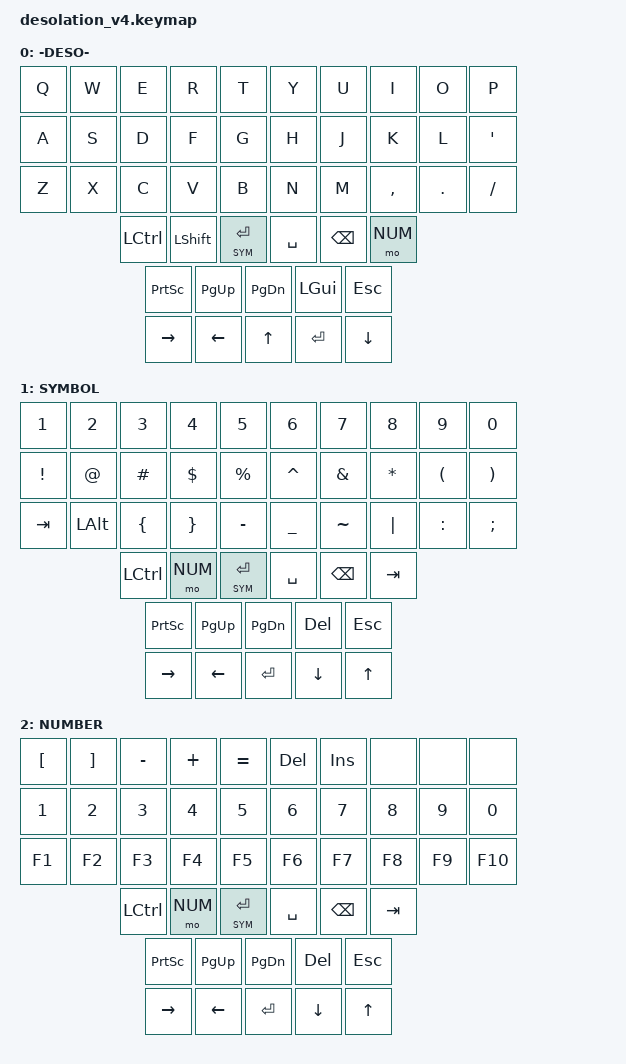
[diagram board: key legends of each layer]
/*
 * Last Update 12/3/24
 * QWERTY v4
 * 
 */

#include <behaviors.dtsi>
#include <dt-bindings/zmk/keys.h>
#include <dt-bindings/zmk/bt.h>
#include <dt-bindings/zmk/outputs.h>

#define DEF      0
#define SYM      1
#define NUM      2

#define SFTENT   &mt RSHIFT ENTER
#define SFTSPC   &mt LSHIFT SPACE
#define CPST     &cccv LC(C) LC(V)
#define CLIP     &kp LC(LA(Q))
#define GSHT     &kp LC(LA(G))
#define MSEH     &lt MSE H
#define MACA     &lt MAC A 
#define NUMG     &lt NUM G
#define SYMS     &lt SYM S 
#define FNC      &lt FN C
#define LCTD     &hrm LCTRL D
#define LLTT     &hrm LALT T
#define RTRN     &kp RET
#define TB       &kp TAB
#define BSP      &kp BSPC
#define BOOT     &bootloader
#define SNPL     &mo SNP
#define NNN      &none

&mt {
    flavor = "tap-preferred";
    tapping_term_ms = <180>;
};

&lt {
    tapping_term_ms = <150>;
};


/ {
    combos {

        compatible = "zmk,combos";
        combo_bootloader {
            timeout-ms = <50>;
            key-positions = <1 10>;
            bindings = <&bootloader>;
        };
    };

    behaviors {

        qesc: tap_dance_qesc {
            compatible = "zmk,behavior-tap-dance";
            #binding-cells = <0>;
            tapping-term-ms = <180>;
            bindings = <&kp Q>, <&kp ESC>;
        };

        bkt: tap_dance_bracket {
            compatible = "zmk,behavior-tap-dance";
            #binding-cells = <0>;
            tapping-term-ms = <200>;
            bindings = <&kp LBKT>, <&kp RBKT>;
        };

        brc: tap_dance_brace {
            compatible = "zmk,behavior-tap-dance";
            #binding-cells = <0>;
            tapping-term-ms = <200>;
            bindings = <&kp LBRC>, <&kp RBRC>;
        };

        par: tap_dance_paren {
            compatible = "zmk,behavior-tap-dance";
            #binding-cells = <0>;
            tapping-term-ms = <200>;
            bindings = <&kp LPAR>, <&kp RPAR>;
        };

        thn: tap_dance_then {
            compatible = "zmk,behavior-tap-dance";
            #binding-cells = <0>;
            tapping-term-ms = <200>;
            bindings = <&kp LT>, <&kp GT>;
        };

       mt: mod_tap {

             #binding-cells = <2>;
        flavor = "balanced";
            tapping-term-ms = <180>;
            quick-tap-ms = <100>;
            require-prior-idle-ms = <75>;
            hold-while-undecided;
            bindings = <&kp>, <&kp>;
        };

    };



    keymap {
        compatible = "zmk,keymap";

        default_layer {
            display-name = "-DESO-";  
            bindings = <
                &kp Q     &kp W   &kp E       &kp R &kp T &kp Y &kp U &kp I     &kp O   &kp P
                &kp A     &kp S       &kp D       &kp F &kp G &kp H &kp J &kp K     &kp L   &kp APOS
                &kp Z  &kp X &kp C &kp V &kp B &kp N &kp M &kp COMMA &kp DOT &kp SLASH
                    &kp LCTRL    &kp LSHIFT   &lt SYM RET      &kp SPC  &kp BSPC  &mo NUM
              &kp PSCRN    &kp PG_UP    &kp PG_DN        &kp LGUI     &kp ESC
                &kp RIGHT  &kp LEFT     &kp UP     &kp RET      &kp DOWN
            >;
        };
        sym_layer {
            display-name = "SYMBOL";  
            bindings = <
                &kp N1 &kp N2 &kp N3 &kp N4 &kp N5 &kp N6 &kp N7 &kp N8 &kp N9 &kp N0
                &kp EXCL &kp AT &kp HASH &kp DLLR &kp PRCNT &kp CARET &kp AMPS &kp STAR &kp LPAR &kp RPAR
                &kp TAB &kp LALT &kp LBRC &kp RBRC &kp MINUS &kp UNDER &kp TILDE &kp PIPE &kp COLON &kp SEMI
                        &kp LCTRL    &mo NUM   &lt SYM RET      &kp SPC  &kp BSPC  &kp TAB
                &kp PSCRN    &kp PG_UP     &kp PG_DN      &kp DEL     &kp ESC
                &kp RIGHT  &kp LEFT     &kp RET      &kp DOWN    &kp UP
            >;
        };

        num_layer {
            display-name = "NUMBER";  
            bindings = <
                &kp LBKT &kp RBKT &kp MINUS &kp PLUS &kp EQUAL &kp DEL &kp INS &none &none &none
                &kp N1 &kp N2 &kp N3 &kp N4 &kp N5 &kp N6 &kp N7 &kp N8 &kp N9 &kp N0
                &kp F1 &kp F2 &kp F3 &kp F4 &kp F5 &kp F6 &kp F7 &kp F8 &kp F9 &kp F10
                        &kp LCTRL    &mo NUM   &lt SYM RET     &kp SPC  &kp BSPC  &kp TAB
                &kp PSCRN    &kp PG_UP     &kp PG_DN       &kp DEL        &kp ESC
                &kp RIGHT  &kp LEFT     &kp RET      &kp DOWN      &kp UP
            >;
        };
    };
};
